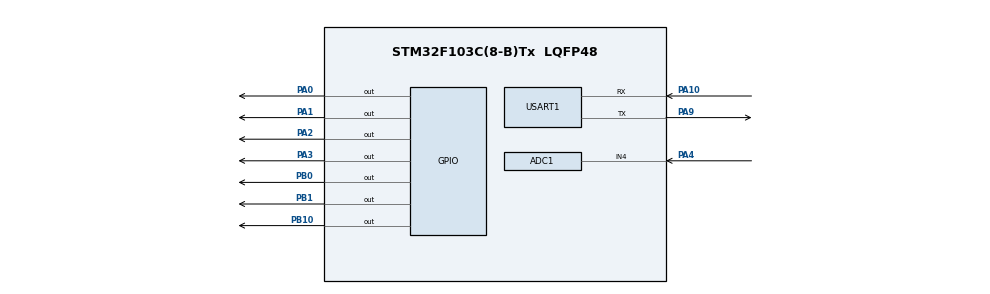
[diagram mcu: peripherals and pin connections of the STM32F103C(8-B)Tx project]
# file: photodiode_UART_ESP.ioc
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ADC1.Channel-0\#ChannelRegularConversion=ADC_CHANNEL_4
ADC1.NbrOfConversionFlag=1
ADC1.Rank-0\#ChannelRegularConversion=1
ADC1.SamplingTime-0\#ChannelRegularConversion=ADC_SAMPLETIME_1CYCLE_5
ADC1.master=1
Mcu.Family=STM32F1
Mcu.Name=STM32F103C(8-B)Tx
Mcu.Package=LQFP48
NVIC.PriorityGroup=NVIC_PRIORITYGROUP_4
PA0-WKUP.Signal=GPIO_Output
PA1.Signal=GPIO_Output
PA10.Mode=Asynchronous
PA10.Signal=USART1_RX
PA2.Signal=GPIO_Output
PA3.Signal=GPIO_Output
PA4.Signal=ADCx_IN4
PA9.Mode=Asynchronous
PA9.Signal=USART1_TX
PB0.Signal=GPIO_Output
PB1.Signal=GPIO_Output
PB10.Signal=GPIO_Output
ProjectManager.HeapSize=0x200
ProjectManager.StackSize=0x400
ProjectManager.TargetToolchain=STM32CubeIDE
RCC.APB1Freq_Value=8000000
RCC.APB2Freq_Value=8000000
SH.ADCx_IN4.0=ADC1_IN4,IN4
USART1.VirtualMode=VM_ASYNC
VP_SYS_VS_ND.Mode=No_Debug
board=custom

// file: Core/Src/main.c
/* USER CODE BEGIN Header */
/**
  ******************************************************************************
  * @file           : main.c
  * @brief          : Main program body
  ******************************************************************************
  * @attention
  *
  * Copyright (c) 2026 STMicroelectronics.
  * All rights reserved.
  *
  * This software is licensed under terms that can be found in the LICENSE file
  * in the root directory of this software component.
  * If no LICENSE file comes with this software, it is provided AS-IS.
  *
  ******************************************************************************
  */
/* USER CODE END Header */
#include "main.h"

/* USER CODE BEGIN Includes */
#include <stdio.h>
#include <string.h>
/* USER CODE END Includes */

ADC_HandleTypeDef hadc1;

UART_HandleTypeDef huart1;

/* USER CODE BEGIN PV */
char uart_buf[256];
float CONVERSION = 3.3f / 4095.0f;
/* USER CODE END PV */

void SystemClock_Config(void);
static void MX_GPIO_Init(void);
static void MX_ADC1_Init(void);
static void MX_USART1_UART_Init(void);

/* USER CODE BEGIN 0 */
void set_mux_channel(uint8_t ch)
{
    HAL_GPIO_WritePin(GPIOA, GPIO_PIN_0, (ch & 0x01) ? GPIO_PIN_SET : GPIO_PIN_RESET);
    HAL_GPIO_WritePin(GPIOA, GPIO_PIN_1, (ch & 0x02) ? GPIO_PIN_SET : GPIO_PIN_RESET);
    HAL_GPIO_WritePin(GPIOA, GPIO_PIN_2, (ch & 0x04) ? GPIO_PIN_SET : GPIO_PIN_RESET);
    HAL_GPIO_WritePin(GPIOA, GPIO_PIN_3, (ch & 0x08) ? GPIO_PIN_SET : GPIO_PIN_RESET);
}
/* USER CODE END 0 */

int main(void)
{

  /* MCU Configuration--------------------------------------------------------*/

  /* Reset of all peripherals, Initializes the Flash interface and the Systick. */
  HAL_Init();

  /* Configure the system clock */
  SystemClock_Config();

  /* Initialize all configured peripherals */
  MX_GPIO_Init();
  MX_ADC1_Init();
  MX_USART1_UART_Init();
  /* USER CODE BEGIN 2 */
  HAL_GPIO_WritePin(GPIOB,GPIO_PIN_0,GPIO_PIN_SET);    // Pump ON
  HAL_GPIO_WritePin(GPIOB,GPIO_PIN_1,GPIO_PIN_RESET);  // Light OFF
  HAL_GPIO_WritePin(GPIOB,GPIO_PIN_10,GPIO_PIN_RESET); // MUX OFF

  HAL_Delay(4000);

  HAL_GPIO_WritePin(GPIOB,GPIO_PIN_0,GPIO_PIN_RESET);  // Pump OFF
  HAL_GPIO_WritePin(GPIOB,GPIO_PIN_1,GPIO_PIN_SET);    // Light ON
  HAL_GPIO_WritePin(GPIOB,GPIO_PIN_10,GPIO_PIN_SET);   // MUX ON
  /* USER CODE END 2 */

  /* Infinite loop */
  /* USER CODE BEGIN WHILE */
  while (1)
    {
  	  /* USER CODE BEGIN 3 */

  	  static uint32_t start_time = 0;
  	  float values[16];

  	  if(start_time == 0)
  	  {
  	      start_time = HAL_GetTick();

  	      sprintf(uart_buf,"Time");
  	      HAL_UART_Transmit(&huart1,(uint8_t*)uart_buf,strlen(uart_buf),100);

  	      for(int i=0;i<16;i++)
  	      {
  	          sprintf(uart_buf,",CH%d",i);
  	          HAL_UART_Transmit(&huart1,(uint8_t*)uart_buf,strlen(uart_buf),100);
  	      }

  	      sprintf(uart_buf,"\r\n");
  	      HAL_UART_Transmit(&huart1,(uint8_t*)uart_buf,strlen(uart_buf),100);
  	  }

  	  float t = (HAL_GetTick() - start_time)/1000.0f;

  	  for(int ch=0; ch<16; ch++)
  	  {
  	      set_mux_channel(ch);

  	      HAL_Delay(50);

  	      HAL_ADC_Start(&hadc1);
  	      HAL_ADC_PollForConversion(&hadc1,100);
  	      uint32_t raw = HAL_ADC_GetValue(&hadc1);

  	      values[ch] = raw * CONVERSION;
  	  }

  	  int len = sprintf(uart_buf,"%.3f",t);

  	  for(int i=0;i<16;i++)
  	  {
  	      len += sprintf(&uart_buf[len],",%.4f",values[i]);
  	  }

  	  len += sprintf(&uart_buf[len],"\r\n");

  	  HAL_UART_Transmit(&huart1,(uint8_t*)uart_buf,len,100);

  	  /* USER CODE END 3 */
    }
    /* USER CODE END 3 */
  }
  /* USER CODE END 3 */

void SystemClock_Config(void)
{
  RCC_OscInitTypeDef RCC_OscInitStruct = {0};
  RCC_ClkInitTypeDef RCC_ClkInitStruct = {0};
  RCC_PeriphCLKInitTypeDef PeriphClkInit = {0};

  /** Initializes the RCC Oscillators according to the specified parameters
  * in the RCC_OscInitTypeDef structure.
  */
  RCC_OscInitStruct.OscillatorType = RCC_OSCILLATORTYPE_HSI;
  RCC_OscInitStruct.HSIState = RCC_HSI_ON;
  RCC_OscInitStruct.HSICalibrationValue = RCC_HSICALIBRATION_DEFAULT;
  RCC_OscInitStruct.PLL.PLLState = RCC_PLL_NONE;
  if (HAL_RCC_OscConfig(&RCC_OscInitStruct) != HAL_OK)
  {
    Error_Handler();
  }

  /** Initializes the CPU, AHB and APB buses clocks
  */
  RCC_ClkInitStruct.ClockType = RCC_CLOCKTYPE_HCLK|RCC_CLOCKTYPE_SYSCLK
                              |RCC_CLOCKTYPE_PCLK1|RCC_CLOCKTYPE_PCLK2;
  RCC_ClkInitStruct.SYSCLKSource = RCC_SYSCLKSOURCE_HSI;
  RCC_ClkInitStruct.AHBCLKDivider = RCC_SYSCLK_DIV1;
  RCC_ClkInitStruct.APB1CLKDivider = RCC_HCLK_DIV1;
  RCC_ClkInitStruct.APB2CLKDivider = RCC_HCLK_DIV1;

  if (HAL_RCC_ClockConfig(&RCC_ClkInitStruct, FLASH_LATENCY_0) != HAL_OK)
  {
    Error_Handler();
  }
  PeriphClkInit.PeriphClockSelection = RCC_PERIPHCLK_ADC;
  PeriphClkInit.AdcClockSelection = RCC_ADCPCLK2_DIV2;
  if (HAL_RCCEx_PeriphCLKConfig(&PeriphClkInit) != HAL_OK)
  {
    Error_Handler();
  }
}

static void MX_ADC1_Init(void)
{

  ADC_ChannelConfTypeDef sConfig = {0};

  /** Common config
  */
  hadc1.Instance = ADC1;
  hadc1.Init.ScanConvMode = ADC_SCAN_DISABLE;
  hadc1.Init.ContinuousConvMode = DISABLE;
  hadc1.Init.DiscontinuousConvMode = DISABLE;
  hadc1.Init.ExternalTrigConv = ADC_SOFTWARE_START;
  hadc1.Init.DataAlign = ADC_DATAALIGN_RIGHT;
  hadc1.Init.NbrOfConversion = 1;
  if (HAL_ADC_Init(&hadc1) != HAL_OK)
  {
    Error_Handler();
  }

  /** Configure Regular Channel
  */
  sConfig.Channel = ADC_CHANNEL_4;
  sConfig.Rank = ADC_REGULAR_RANK_1;
  sConfig.SamplingTime = ADC_SAMPLETIME_1CYCLE_5;
  if (HAL_ADC_ConfigChannel(&hadc1, &sConfig) != HAL_OK)
  {
    Error_Handler();
  }

}

static void MX_USART1_UART_Init(void)
{

  huart1.Instance = USART1;
  huart1.Init.BaudRate = 115200;
  huart1.Init.WordLength = UART_WORDLENGTH_8B;
  huart1.Init.StopBits = UART_STOPBITS_1;
  huart1.Init.Parity = UART_PARITY_NONE;
  huart1.Init.Mode = UART_MODE_TX_RX;
  huart1.Init.HwFlowCtl = UART_HWCONTROL_NONE;
  huart1.Init.OverSampling = UART_OVERSAMPLING_16;
  if (HAL_UART_Init(&huart1) != HAL_OK)
  {
    Error_Handler();
  }

}

static void MX_GPIO_Init(void)
{
  GPIO_InitTypeDef GPIO_InitStruct = {0};

  /* GPIO Ports Clock Enable */
  __HAL_RCC_GPIOA_CLK_ENABLE();
  __HAL_RCC_GPIOB_CLK_ENABLE();

  /*Configure GPIO pin Output Level */
  HAL_GPIO_WritePin(GPIOA, GPIO_PIN_0|GPIO_PIN_1|GPIO_PIN_2|GPIO_PIN_3, GPIO_PIN_RESET);

  /*Configure GPIO pin Output Level */
  HAL_GPIO_WritePin(GPIOB, GPIO_PIN_0|GPIO_PIN_1|GPIO_PIN_10, GPIO_PIN_RESET);

  /*Configure GPIO pins : PA0 PA1 PA2 PA3 */
  GPIO_InitStruct.Pin = GPIO_PIN_0|GPIO_PIN_1|GPIO_PIN_2|GPIO_PIN_3;
  GPIO_InitStruct.Mode = GPIO_MODE_OUTPUT_PP;
  GPIO_InitStruct.Pull = GPIO_NOPULL;
  GPIO_InitStruct.Speed = GPIO_SPEED_FREQ_LOW;
  HAL_GPIO_Init(GPIOA, &GPIO_InitStruct);

  /*Configure GPIO pins : PB0 PB1 PB10 */
  GPIO_InitStruct.Pin = GPIO_PIN_0|GPIO_PIN_1|GPIO_PIN_10;
  GPIO_InitStruct.Mode = GPIO_MODE_OUTPUT_PP;
  GPIO_InitStruct.Pull = GPIO_NOPULL;
  GPIO_InitStruct.Speed = GPIO_SPEED_FREQ_LOW;
  HAL_GPIO_Init(GPIOB, &GPIO_InitStruct);

}

void Error_Handler(void)
{
  __disable_irq();
  while (1)
  {
  }
}
